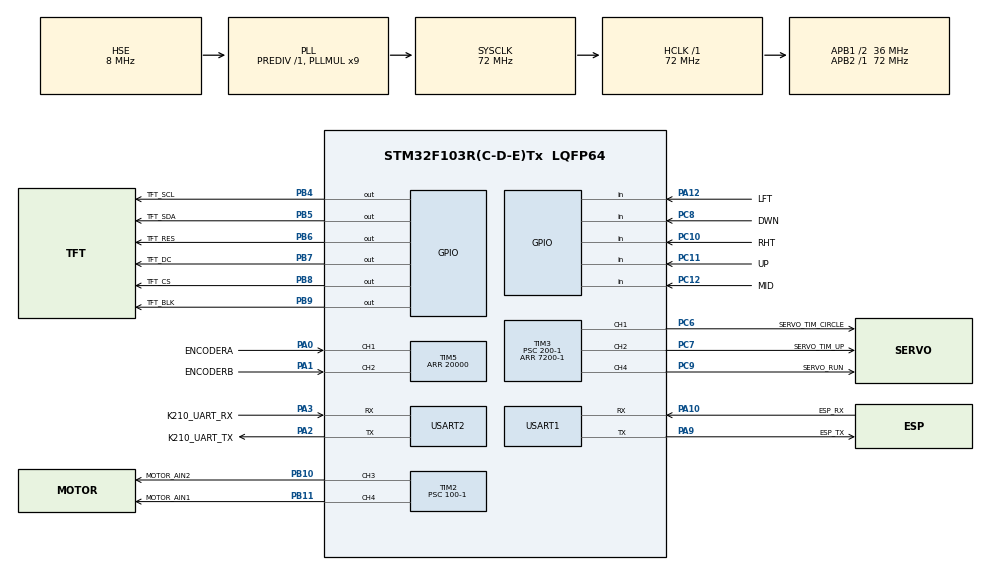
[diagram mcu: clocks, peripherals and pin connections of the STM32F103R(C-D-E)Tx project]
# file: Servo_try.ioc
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Mcu.Family=STM32F1
Mcu.Name=STM32F103R(C-D-E)Tx
Mcu.Package=LQFP64
NVIC.PriorityGroup=NVIC_PRIORITYGROUP_4
NVIC.TIM2_IRQn=true\:1\:0\:true\:false\:true\:true\:true\:true
NVIC.TIM3_IRQn=true\:0\:0\:false\:false\:true\:true\:true\:true
NVIC.TIM5_IRQn=true\:0\:0\:false\:false\:true\:true\:true\:true
NVIC.USART1_IRQn=true\:0\:0\:false\:false\:true\:true\:true\:true
NVIC.USART2_IRQn=true\:0\:0\:false\:false\:true\:true\:true\:true
PA0-WKUP.GPIO_Label=ENCODERA
PA0-WKUP.GPIO_PuPd=GPIO_PULLUP
PA0-WKUP.Signal=S_TIM5_CH1
PA1.GPIO_Label=ENCODERB
PA1.GPIO_PuPd=GPIO_PULLUP
PA1.Signal=S_TIM5_CH2
PA10.GPIO_Label=ESP_RX
PA10.Mode=Asynchronous
PA10.Signal=USART1_RX
PA12.GPIO_Label=LFT
PA12.GPIO_PuPd=GPIO_PULLUP
PA12.Signal=GPIO_Input
PA13.Mode=Serial_Wire
PA13.Signal=SYS_JTMS-SWDIO
PA14.Mode=Serial_Wire
PA14.Signal=SYS_JTCK-SWCLK
PA2.GPIO_Label=K210_UART_TX
PA2.Mode=Asynchronous
PA2.Signal=USART2_TX
PA3.GPIO_Label=K210_UART_RX
PA3.Mode=Asynchronous
PA3.Signal=USART2_RX
PA9.GPIO_Label=ESP_TX
PA9.Mode=Asynchronous
PA9.Signal=USART1_TX
PB10.GPIO_Label=MOTOR_AIN2
PB10.GPIO_Speed=GPIO_SPEED_FREQ_MEDIUM
PB10.Signal=S_TIM2_CH3
PB11.GPIO_Label=MOTOR_AIN1
PB11.Signal=S_TIM2_CH4
PB4.GPIO_Label=TFT_SCL
PB4.GPIO_ModeDefaultOutputPP=GPIO_MODE_OUTPUT_PP
PB4.GPIO_Speed=GPIO_SPEED_FREQ_HIGH
PB4.Signal=GPIO_Output
PB5.GPIO_Label=TFT_SDA
PB5.GPIO_ModeDefaultOutputPP=GPIO_MODE_OUTPUT_PP
PB5.GPIO_Speed=GPIO_SPEED_FREQ_HIGH
PB5.Signal=GPIO_Output
PB6.GPIO_Label=TFT_RES
PB6.GPIO_Speed=GPIO_SPEED_FREQ_LOW
PB6.Signal=GPIO_Output
PB7.GPIO_Label=TFT_DC
PB7.GPIO_ModeDefaultOutputPP=GPIO_MODE_OUTPUT_PP
PB7.GPIO_Speed=GPIO_SPEED_FREQ_HIGH
PB7.Signal=GPIO_Output
PB8.GPIO_Label=TFT_CS
PB8.GPIO_ModeDefaultOutputPP=GPIO_MODE_OUTPUT_PP
PB8.GPIO_Speed=GPIO_SPEED_FREQ_HIGH
PB8.Signal=GPIO_Output
PB9.GPIO_Label=TFT_BLK
PB9.GPIO_ModeDefaultOutputPP=GPIO_MODE_OUTPUT_PP
PB9.GPIO_Speed=GPIO_SPEED_FREQ_HIGH
PB9.Signal=GPIO_Output
PC10.GPIO_Label=RHT
PC10.GPIO_PuPd=GPIO_PULLUP
PC10.Signal=GPIO_Input
PC11.GPIO_Label=UP
PC11.GPIO_PuPd=GPIO_PULLUP
PC11.Signal=GPIO_Input
PC12.GPIO_Label=MID
PC12.GPIO_PuPd=GPIO_PULLUP
PC12.Signal=GPIO_Input
PC6.GPIO_Label=SERVO_TIM_CIRCLE
PC6.GPIO_Speed=GPIO_SPEED_FREQ_MEDIUM
PC6.Signal=S_TIM3_CH1
PC7.GPIO_Label=SERVO_TIM_UP
PC7.GPIO_Speed=GPIO_SPEED_FREQ_MEDIUM
PC7.Signal=S_TIM3_CH2
PC8.GPIO_Label=DWN
PC8.GPIO_PuPd=GPIO_PULLUP
PC8.Signal=GPIO_Input
PC9.GPIO_Label=SERVO_RUN
PC9.GPIO_Speed=GPIO_SPEED_FREQ_MEDIUM
PC9.Signal=S_TIM3_CH4
PD0-OSC_IN.Mode=HSE-External-Oscillator
PD0-OSC_IN.Signal=RCC_OSC_IN
PD1-OSC_OUT.Mode=HSE-External-Oscillator
PD1-OSC_OUT.Signal=RCC_OSC_OUT
ProjectManager.HeapSize=0x200
ProjectManager.StackSize=0x400
ProjectManager.TargetToolchain=MDK-ARM V5
RCC.AHBFreq_Value=72000000
RCC.APB1CLKDivider=RCC_HCLK_DIV2
RCC.APB1Freq_Value=36000000
RCC.APB1TimFreq_Value=72000000
RCC.APB2Freq_Value=72000000
RCC.APB2TimFreq_Value=72000000
RCC.HCLKFreq_Value=72000000
RCC.PLLMUL=RCC_PLL_MUL9
RCC.PLLSourceVirtual=RCC_PLLSOURCE_HSE
RCC.SYSCLKFreq_VALUE=72000000
RCC.SYSCLKSource=RCC_SYSCLKSOURCE_PLLCLK
RCC.USBFreq_Value=72000000
SH.S_TIM2_CH3.0=TIM2_CH3,PWM Generation3 CH3
SH.S_TIM2_CH4.0=TIM2_CH4,PWM Generation4 CH4
SH.S_TIM3_CH1.0=TIM3_CH1,PWM Generation1 CH1
SH.S_TIM3_CH2.0=TIM3_CH2,PWM Generation2 CH2
SH.S_TIM3_CH4.0=TIM3_CH4,PWM Generation4 CH4
SH.S_TIM5_CH1.0=TIM5_CH1,Encoder_Interface
SH.S_TIM5_CH2.0=TIM5_CH2,Encoder_Interface
TIM2.AutoReloadPreload=TIM_AUTORELOAD_PRELOAD_ENABLE
TIM2.Channel-PWM\ Generation3\ CH3=TIM_CHANNEL_3
TIM2.Channel-PWM\ Generation4\ CH4=TIM_CHANNEL_4
TIM2.Period=7200-1
TIM2.Prescaler=100-1
TIM3.AutoReloadPreload=TIM_AUTORELOAD_PRELOAD_ENABLE
TIM3.Channel-PWM\ Generation1\ CH1=TIM_CHANNEL_1
TIM3.Channel-PWM\ Generation2\ CH2=TIM_CHANNEL_2
TIM3.Channel-PWM\ Generation4\ CH4=TIM_CHANNEL_4
TIM3.Period=7200-1
TIM3.Prescaler=200-1
TIM3.Pulse-PWM\ Generation1\ CH1=600
TIM3.Pulse-PWM\ Generation2\ CH2=600
TIM3.Pulse-PWM\ Generation4\ CH4=600
TIM5.EncoderMode=TIM_ENCODERMODE_TI12
TIM5.Period=20000
USART1.VirtualMode=VM_ASYNC
USART2.VirtualMode=VM_ASYNC
VP_TIM2_VS_ClockSourceINT.Mode=Internal
VP_TIM3_VS_ClockSourceINT.Mode=Internal
board=custom

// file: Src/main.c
/* USER CODE BEGIN Header */
/**
  ******************************************************************************
  * @file           : main.c
  * @brief          : Main program body
  ******************************************************************************
  * @attention
  *
  * Copyright (c) 2024 STMicroelectronics.
  * All rights reserved.
  *
  * This software is licensed under terms that can be found in the LICENSE file
  * in the root directory of this software component.
  * If no LICENSE file comes with this software, it is provided AS-IS.
  *
  ******************************************************************************
  */
/* USER CODE END Header */
#include "main.h"
#include "tim.h"
#include "usart.h"
#include "gpio.h"

/* USER CODE BEGIN Includes */
#include "stdio.h"
//#include "debug.h"
#include "eeprom.h"
#include "servo.h"
#include "motor.h"
#include "lcd.h"
#include "menu.h"
#include "esp01s.h"
#include "encoderM.h"

/* USER CODE END Includes */

/* USER CODE BEGIN PV */
#define DataSize 512

int32_t Cx=IMAGE_X_CENTRAL;
int32_t Cy=IMAGE_Y_CENTRAL;
int32_t Cz=0;
static uint16_t encoder_counter = 0;
static int32_t RxBuffer1[6] = {0};
static u8 RxCounter1 = 0;
static u8 encoder_ok=0;
extern uint16_t servo_ok_1;
extern uint16_t servo_ok_2;
extern uint16_t servo_up_pwm;
extern uint16_t servo_circle_pwm;
extern uint16_t servo_run_pwm;
extern uint32_t Turn_Up_PIDparam_kp;
extern uint32_t Turn_Up_PIDparam_kd;
extern uint32_t Turn_Circle_PIDparam_kp;
extern uint32_t Turn_Circle_PIDparam_kd;
extern uint32_t Turn_Run_PIDparam_kp;
extern uint32_t Turn_Run_PIDparam_kd;
extern PIDparam_st Turn_Up_PIDparam;
extern PIDparam_st Turn_Circle_PIDparam;
extern PIDparam_st Turn_Run_PIDparam;
extern char RxData[DataSize];
extern VelocityData velo;

/* USER CODE END PV */

void SystemClock_Config(void);

int main(void)
{

  /* MCU Configuration--------------------------------------------------------*/

  /* Reset of all peripherals, Initializes the Flash interface and the Systick. */
  HAL_Init();

  /* Configure the system clock */
  SystemClock_Config();

  /* Initialize all configured peripherals */
  MX_GPIO_Init();
  MX_TIM3_Init();
  MX_USART1_UART_Init();
  MX_TIM2_Init();
  MX_USART2_UART_Init();
  MX_TIM5_Init();
  /* USER CODE BEGIN 2 */
		servo_init();
		motor_init();
		pidTurn_init();
		HAL_TIM_Base_Start_IT(&htim2);//10ms
		HAL_TIM_Base_Start_IT(&htim3);//20ms

		HAL_UART_Receive_IT(&huart1, (uint8_t*)&RxData[DataSize], 1);
		HAL_UART_Receive_IT(&huart2, (uint8_t*)&RxBuffer1[RxCounter1], 1);
		//ESP01S_Init();

  /* USER CODE END 2 */

  /* Infinite loop */
  /* USER CODE BEGIN WHILE */
	Encoder_Init();
	LCD_Init();
	LCD_Fill(0,0,LCD_W,LCD_H,WHITE);
	MainMenu_Set();

  while (1)
  {
    /* USER CODE END WHILE */

  }
}

void SystemClock_Config(void)
{
  RCC_OscInitTypeDef RCC_OscInitStruct = {0};
  RCC_ClkInitTypeDef RCC_ClkInitStruct = {0};

  /** Initializes the RCC Oscillators according to the specified parameters
  * in the RCC_OscInitTypeDef structure.
  */
  RCC_OscInitStruct.OscillatorType = RCC_OSCILLATORTYPE_HSE;
  RCC_OscInitStruct.HSEState = RCC_HSE_ON;
  RCC_OscInitStruct.HSEPredivValue = RCC_HSE_PREDIV_DIV1;
  RCC_OscInitStruct.HSIState = RCC_HSI_ON;
  RCC_OscInitStruct.PLL.PLLState = RCC_PLL_ON;
  RCC_OscInitStruct.PLL.PLLSource = RCC_PLLSOURCE_HSE;
  RCC_OscInitStruct.PLL.PLLMUL = RCC_PLL_MUL9;
  if (HAL_RCC_OscConfig(&RCC_OscInitStruct) != HAL_OK)
  {
    Error_Handler();
  }

  /** Initializes the CPU, AHB and APB buses clocks
  */
  RCC_ClkInitStruct.ClockType = RCC_CLOCKTYPE_HCLK|RCC_CLOCKTYPE_SYSCLK
                              |RCC_CLOCKTYPE_PCLK1|RCC_CLOCKTYPE_PCLK2;
  RCC_ClkInitStruct.SYSCLKSource = RCC_SYSCLKSOURCE_PLLCLK;
  RCC_ClkInitStruct.AHBCLKDivider = RCC_SYSCLK_DIV1;
  RCC_ClkInitStruct.APB1CLKDivider = RCC_HCLK_DIV2;
  RCC_ClkInitStruct.APB2CLKDivider = RCC_HCLK_DIV1;

  if (HAL_RCC_ClockConfig(&RCC_ClkInitStruct, FLASH_LATENCY_2) != HAL_OK)
  {
    Error_Handler();
  }
}

/* USER CODE BEGIN 4 */

void HAL_TIM_PeriodElapsedCallback(TIM_HandleTypeDef *htim)
{
	   if(htim->Instance==ENCODER_TIM.Instance)//编码器输入定时器溢出中断，用于防溢出
    {
        if(COUNTERNUM < 10000) velo.overflowNum++;       //如果是向上溢出
        else if(COUNTERNUM >= 10000) velo.overflowNum--; //如果是向下溢出
        __HAL_TIM_SetCounter(&ENCODER_TIM, 10000);             //重新设定初始值
    }

    if (htim == (&htim2))
    {
        key_IRQHandler();
				if(encoder_counter++>10) 		//100ms即1s计算10次速度
				{
					encoder_counter=0;
					encoder_getVelocity();
					//velo.direct = __HAL_TIM_IS_TIM_COUNTING_DOWN(&ENCODER_TIM);//如果向上计数（正转），返回值为0，否则返回值为1
					//encoder1.totalCount = COUNTERNUM + encoder1.overflowNum * RELOADVALUE;//一个周期内的总计数值等于目前计数值加上溢出的计数值
					//encoder1.speed = (float)(encoder1.totalCount - encoder1.lastCount) / (4 * MOTOR_SPEED_RERATIO * PULSE_PRE_ROUND) * 10;//算得每秒多少转
					//encoder1.speed = (float)(encoder1.totalCount - encoder1.lastCount) / (4 * MOTOR_SPEED_RERATIO * PULSE_PRE_ROUND) * 10 * LINE_SPEED_C//算得车轮线速度每秒多少毫米
					//encoder1.lastCount = encoder1.totalCount; //记录这一次的计数值

				}

    }
		if (htim == (&htim3))
		{
			Turn_Up_PIDparam.kp = Turn_Up_PIDparam_kp;
			Turn_Up_PIDparam.kd = Turn_Up_PIDparam_kd;
			Turn_Circle_PIDparam.kp = Turn_Circle_PIDparam_kp;
			Turn_Circle_PIDparam.kd = Turn_Circle_PIDparam_kd;
			Turn_Run_PIDparam.kp = Turn_Run_PIDparam_kp;
			Turn_Run_PIDparam.kd = Turn_Run_PIDparam_kd;
			if(servo_ok_1){
				if((Cx!=0)&&(Cy!=0)){
					//printf("cxd:%d  %d\n",pidTurn_getDutyX(Cx-IMAGE_X_CENTRAL),Cx-IMAGE_X_CENTRAL);

					if(pidTurn_getDutyX(Cx)>10)
						servo_circle_pwm -=10;
					else if(pidTurn_getDutyX(Cx)<-10)
						servo_circle_pwm +=10;
					else
						servo_circle_pwm -= pidTurn_getDutyX(Cx);

					if(pidTurn_getDutyY(Cy)>10)
						servo_up_pwm+=10;
					else if(pidTurn_getDutyY(Cy)<-10)
						servo_up_pwm -=10;
					else
						servo_up_pwm+= pidTurn_getDutyY(Cy);

							set_servo_pwm(SERVO_UP_CHANNEL,(uint32_t*)&servo_up_pwm);
							set_servo_pwm(SERVO_CIRCLE_CHANNEL,(uint32_t*)&servo_circle_pwm);
				}	}
			else if(servo_ok_2){
					if(pidTurn_getDutyR(Cx)>10)
						servo_run_pwm +=10;
					else if(pidTurn_getDutyR(Cx)<-10)
						servo_run_pwm -=10;
					else
						servo_run_pwm += pidTurn_getDutyR(Cx);
					set_servo_pwm(SERVO_RUN_CHANNEL,(uint32_t*)&servo_run_pwm);

			}
		}

}
int8_t uint8_to_int8(uint8_t value) {
    if (value > 127) {
        return (int8_t)(value - 256);  // 转换大于 127 的值为负数
    }
    return (int8_t)value;  // 直接返回
}
void HAL_UART_RxCpltCallback(UART_HandleTypeDef *huart) {
    static u8 RxState = 0;
		if (huart == (&huart1)){
			ESP_IRQHandler();

		}
    if (huart == (&huart2)) { // 接收中断
        // 在这里处理接收到的数据
        // 由于调用 HAL_UART_Receive_IT() 可能导致数据被覆盖，需妥善处理

        if (RxState == 0 && RxBuffer1[0] == 0x2C) { // 0x2c 为帧头
            RxState = 1;
        } else if (RxState == 1 && RxBuffer1[1] == 0x12) { // 0x12 为帧头
            RxState = 2;

        } else if (RxState == 2) {
            // 检查最后一位是否为 0x5B

            if (RxCounter1==6 && RxBuffer1[5] == 0x5B) {
                Cx = uint8_to_int8(RxBuffer1[2]);
                Cy = uint8_to_int8(RxBuffer1[3]);
                Cz = uint8_to_int8(RxBuffer1[4]);
                // 数据接收完成，可以处理数据

                // 重置
                RxCounter1 = 0;
                RxState = 0;
            } else if(RxCounter1 > 6){ // 接收异常
                RxState = 0;
								RxCounter1 = 0;
								for (u8 i = 0; i < 6; i++) {
										RxBuffer1[i] = 0x00; // 将存放数据数组清零
								}
            }
        } else { // 接收异常
            RxState = 0;
						RxCounter1 = 0;
						for (u8 i = 0; i < 6; i++) {
								RxBuffer1[i] = 0x00; // 将存放数据数组清零
						}
        }

        // 继续接收下一个字节
        HAL_UART_Receive_IT(&huart2, (uint8_t*)&RxBuffer1[RxCounter1], 1);
        RxCounter1++; // 增加计数

    }
}

/* USER CODE END 4 */

void Error_Handler(void)
{
  __disable_irq();
  while (1)
  {
  }
}
